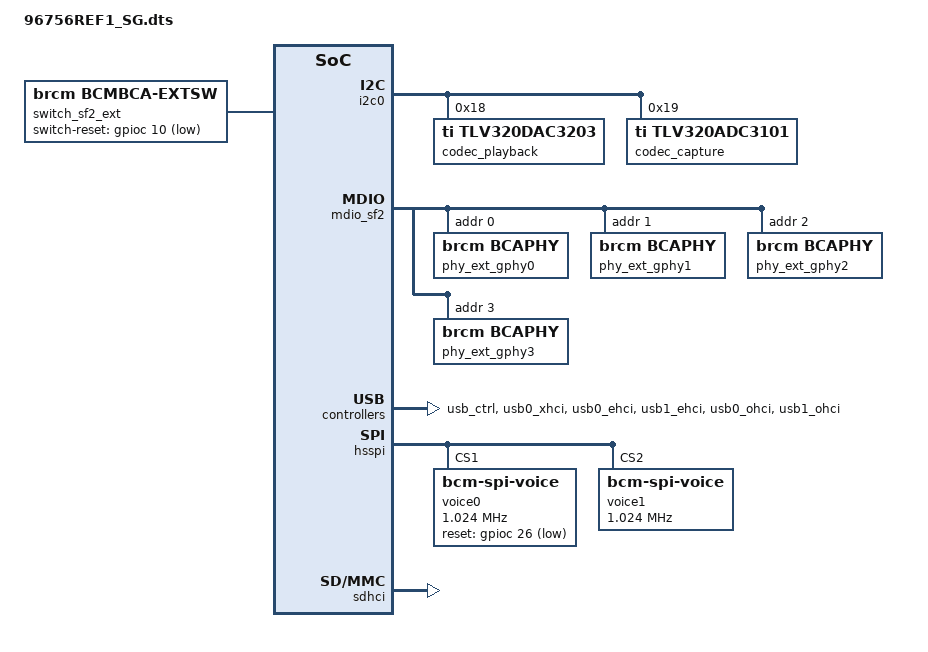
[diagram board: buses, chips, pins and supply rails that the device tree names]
#include "6756.dtsi"
#include "../bcm_voice.dtsi"

/ {
	memory_controller {
		memcfg = <(
			/* CUSTOM speed 1026MHz */
			BP_DDR_SPEED_CUSTOM_1      | \
			BP_DDR_TOTAL_SIZE_512MB    | \
			BP_DDR_DEVICE_WIDTH_16     | \
			BP_DDR_TOTAL_WIDTH_16BIT   | \
			BP_DDR_6756_DEFAULT          | \
			BP_DDR_CONFIG_DEBUG)>;
	};

	buttons {
		compatible = "brcm,buttons";
		ses_button {
			ext_irq = <&bca_extintr 4 GPIO_ACTIVE_LOW (BCA_EXTINTR_TYPE_LOW_LEVEL | BCA_EXTINTR_TYPE_SENSE_EDGE)>;
			release {
				ses_short_period = <0>;
				ses_long_period = <3>;
			};
		};
	};

	switch_sf2_ext:0 {
	};

};


&sysport {
    ethsw_ext = <&switch_sf2_ext>;
};

&i2c0 {
	pinctrl-names="default";
	pinctrl-0 = <&i2c_sda_pin_16 &i2c_scl_pin_17>;
	status = "okay";
	
	#address-cells = <1>;
	#size-cells = <0>;
	codec_playback:codec_palyback@18{
		compatible = "ti,tlv320dac3203";
		reg = <0x18>;
	};
	codec_capture:codec_capture@19{
		compatible = "ti,tlv320adc3101";
		reg = <0x19>;
	};
};

&mdio_sf2 {
   /* Port PHY mapping:
        port_imp -8#0- port_gphy <---> phy_gphy
                  ##5- port_sgmii0 <-> phy_serdes0 <--> port_ext_imp -8#0- port_ext_gphy0 <--> phy_ext_gphy0
                                                                      # 1- port_ext_gphy1 <--> phy_ext_gphy1
                                                                      # 2- port_ext_gphy2 <--> phy_ext_gphy2
                                                                      ##3- port_ext_gphy3 <--> phy_ext_gphy3
     */
	phy_gphy {
		status = "okay";
	};

	phy_m2m:phy_m2m {
		compatible = "brcm,bcaphy";
		phy-type = "MAC2MAC";
		reg = <1>;
		status = "disabled";
	};

	phy_serdes0 {
		phy-extswitch;
        force-2p5g-10gvco;
        config-speed = <2500>;
		status = "okay";
	};

	/* PHYs on external SF2 switch */
	phy_ext_gphy0:phy_ext_gphy0 {
		compatible = "brcm,bcaphy";
		phy-type = "EGPHY";
		reg = <0>;
		status = "okay";
	};
	phy_ext_gphy1:phy_ext_gphy1 {
		compatible = "brcm,bcaphy";
		phy-type = "EGPHY";
		reg = <1>;
		status = "okay";
	};
	phy_ext_gphy2:phy_ext_gphy2 {
		compatible = "brcm,bcaphy";
		phy-type = "EGPHY";
		reg = <2>;
		status = "okay";
	};
	phy_ext_gphy3:phy_ext_gphy3 {
		compatible = "brcm,bcaphy";
		phy-type = "EGPHY";
		reg = <3>;
		status = "okay";
	};
};

&switch_sf2_ext {                       /* linux/uboot: external sf2 */
	unit = <1>;
	sw-type = "SF2_SW";

	compatible = "brcm,bcmbca-extsw";
	extswsgmii_addr = <0x6>;
	switch-reset = <&gpioc 10 GPIO_ACTIVE_LOW>;

	ports {
		#address-cells = <1>;
		#size-cells = <0>;

		port_ext_gphy0 {
			phy-handle = <&phy_ext_gphy0>;
			reg = <0>;
			mac-type = "SF2MAC";
			phy-mode = "gmii";
			gmii-direct;
			status = "okay";
		};
		port_ext_gphy1 {
			phy-handle = <&phy_ext_gphy1>;
			reg = <1>;
			mac-type = "SF2MAC";
			phy-mode = "gmii";
			gmii-direct;
			status = "okay";
		};
		port_ext_gphy2 {
			phy-handle = <&phy_ext_gphy2>;
			reg = <2>;
			mac-type = "SF2MAC";
			phy-mode = "gmii";
			gmii-direct;
			status = "okay";
		};
		port_ext_gphy3 {
			phy-handle = <&phy_ext_gphy3>;
			reg = <3>;
			mac-type = "SF2MAC";
			phy-mode = "gmii";
			gmii-direct;
			status = "okay";
		};
		port_ext_p5 {
			management;                     /* sf2_ext.p5 <--> root.p5  when P8_SGMII_SEL=0 */
			reg = <5>;
			mac-type = "SF2MAC";
			shrink-ipg;
			phy-mode = "gmii";
			gmii-direct;
			status = "okay";
		};
		port_ext_imp {
			management;                     /* sf2_ext.p8 <--> root.p5  when P8_SGMII_SEL=1 */
			reg = <8>;
			mac-type = "SF2MAC";
			shrink-ipg;
			phy-mode = "gmii";
			gmii-direct;
			status = "okay";
		};
	};
};

&switch0 {                              /* linux/uboot: internal sf2 */
	pinctrl-names = "default"; 
	pinctrl-0 = <&a_rgmii_mdc_pin_68 &a_rgmii_mdio_pin_69>; 

	ports {
		port_gphy {
			phy-handle = <&phy_gphy>;
			network-leds=<&led0 &led1>;
			status = "okay";
		};
		port_sgmii0 {
			phy-handle = <&phy_serdes0>;           /* root.p5 <--> sf2.p8 */
			link = <&switch_sf2_ext>;
			shrink-ipg;
			status = "okay";
		};
	};
};

&usb_ctrl {
	pinctrl-names="default";
	pinctrl-0 = <&usb0_pwr_pins &usb1_pwr_pins>;
	pwron-bias-pull-up;
	status = "okay";
	xhci-enable;
};

&usb0_xhci {
	status = "okay";
};

&usb0_ehci {
	status = "okay";
};

&usb1_ehci {
	status = "okay";
};

&usb0_ohci {
	status = "okay";
};

&usb1_ohci {
	status = "okay";
};

&legacy_leds {
	wl-sess-led = <&led2>;
	wl0-led = <&led4>;
	wl1-led = <&led3>;
};
&led_ctrl {
	led0: port_0-led-0 {
		active_low;
		link = <(LED_SPEED_100|LED_SPEED_1G)>;
		pinctrl-0=<&a_per_led_00_pin_0>;
		status = "okay";
	};
	led1: port_0-led-2 {
		active_low;
		activity = <LED_SPEED_GBE>;
		pinctrl-0=<&a_per_led_03_pin_3>;
		status = "okay";
	};
	led2: sw_led_01 {
		active_low;
		pinctrl-0=<&a_per_led_01_pin_1>;
		status = "okay";
	};
	led3:led_gpio_7 {
		compatible = "brcm,gpio-led";
		software_led;
		pin = <7>;
		active_low;
	};
	led4:led_gpio_36 {
		compatible = "brcm,gpio-led";
		software_led;
		pin = <36>;
		active_low;
	};
};

&bcm_voice{
	sliclist = SLICSLAC_LIST_COMMON_NOFXO;
};

&hsspi {
	voice0 {
		pinctrl-0 = <&spim_ss1_b_pin_76>;
		pinctrl-names = "default";
		compatible = "bcm-spi-voice";
		reg = <1>; /* chip select 1 */
		spi-max-frequency = <1024000>;
		reset-gpio = <&gpioc 26 GPIO_ACTIVE_LOW>;
		spi-index = <0>;/* voice header index */
	};
	voice1 {
		pinctrl-0 = <&spim_ss2_b_pin_10>;
		pinctrl-names = "default";
		compatible = "bcm-spi-voice";
		reg = <2>; /* chip select 2 */
		spi-max-frequency = <1024000>;
		/*reset-gpio = NA*/
		spi-index = <1>;/* voice header index */
	};
};

&sdhci {
	pinctrl-names="default";
	pinctrl-0 = <&emmc_ctrl_pins>;
	status = "okay";
};

/* For 3-wire BT Coex */
&pincontroller {
    pinctrl-names = "default";
    pinctrl-0 = <&wifi0_gci_gpio_0_pin_30 &wifi0_gci_gpio_1_pin_31 &wifi0_gci_gpio_2_pin_32>;
};
